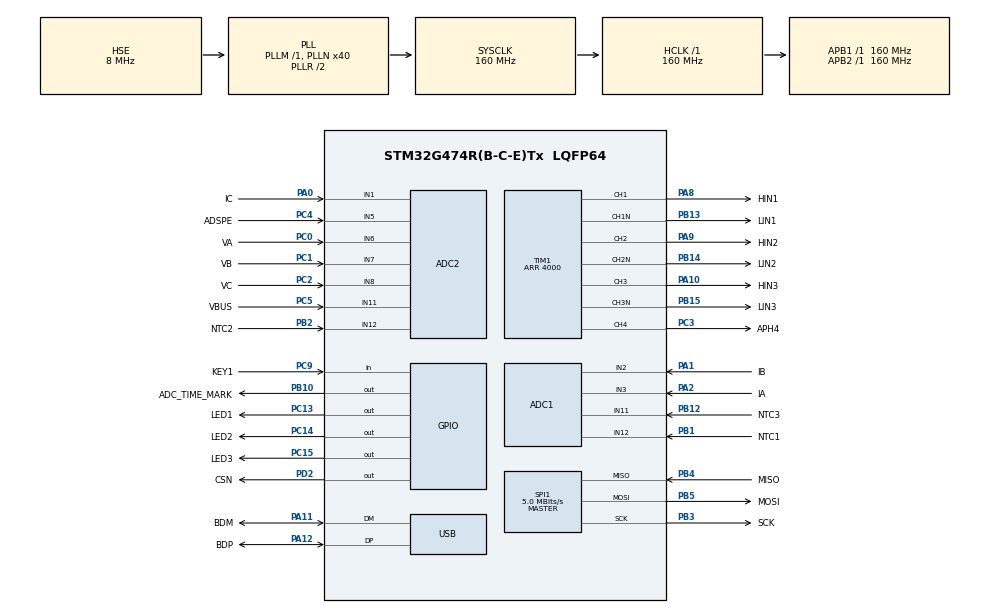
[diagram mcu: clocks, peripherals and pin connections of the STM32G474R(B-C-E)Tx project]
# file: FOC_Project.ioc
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ADC1.Channel-1\#ChannelRegularConversion=ADC_CHANNEL_11
ADC1.Channel-5\#ChannelRegularConversion=ADC_CHANNEL_12
ADC1.ContinuousConvMode=ENABLE
ADC1.DMAAccessMode=ADC_DMAACCESSMODE_DISABLED
ADC1.DMAContinuousRequests=ENABLE
ADC1.EOCSelection=ADC_EOC_SEQ_CONV
ADC1.EnableInjectedConversion=ENABLE
ADC1.ExternalTrigInjecConv=ADC_EXTERNALTRIGINJEC_T1_CC4
ADC1.ExternalTrigInjecConvEdge=ADC_EXTERNALTRIGINJECCONV_EDGE_FALLING
ADC1.InjNumberOfConversion=2
ADC1.InjectedChannel-2\#ChannelInjectedConversion=ADC_CHANNEL_3
ADC1.InjectedChannel-3\#ChannelInjectedConversion=ADC_CHANNEL_2
ADC1.InjectedOffsetNumber-2\#ChannelInjectedConversion=ADC_OFFSET_NONE
ADC1.InjectedOffsetNumber-3\#ChannelInjectedConversion=ADC_OFFSET_NONE
ADC1.InjectedRank-2\#ChannelInjectedConversion=1
ADC1.InjectedRank-3\#ChannelInjectedConversion=2
ADC1.InjectedSamplingTime-2\#ChannelInjectedConversion=ADC_SAMPLETIME_2CYCLES_5
ADC1.InjectedSamplingTime-3\#ChannelInjectedConversion=ADC_SAMPLETIME_2CYCLES_5
ADC1.Mode=ADC_DUALMODE_INJECSIMULT
ADC1.NbrOfConversion=2
ADC1.NbrOfConversionFlag=1
ADC1.OffsetNumber-1\#ChannelRegularConversion=ADC_OFFSET_NONE
ADC1.OffsetNumber-5\#ChannelRegularConversion=ADC_OFFSET_NONE
ADC1.Rank-1\#ChannelRegularConversion=1
ADC1.Rank-5\#ChannelRegularConversion=2
ADC1.Rank1_Channel=ADC_CHANNEL_3
ADC1.Rank2_Channel=ADC_CHANNEL_2
ADC1.SamplingTime-1\#ChannelRegularConversion=ADC_SAMPLETIME_47CYCLES_5
ADC1.SamplingTime-5\#ChannelRegularConversion=ADC_SAMPLETIME_47CYCLES_5
ADC1.TwoSamplingDelay=ADC_TWOSAMPLINGDELAY_1CYCLE
ADC1.master=1
ADC2.Channel-0\#ChannelRegularConversion=ADC_CHANNEL_5
ADC2.Channel-2\#ChannelRegularConversion=ADC_CHANNEL_6
ADC2.Channel-3\#ChannelRegularConversion=ADC_CHANNEL_7
ADC2.Channel-4\#ChannelRegularConversion=ADC_CHANNEL_8
ADC2.Channel-5\#ChannelRegularConversion=ADC_CHANNEL_12
ADC2.ContinuousConvMode=ENABLE
ADC2.DMAAccessMode=ADC_DMAACCESSMODE_DISABLED
ADC2.DMAContinuousRequests=ENABLE
ADC2.EOCSelection=ADC_EOC_SEQ_CONV
ADC2.EnableInjectedConversion=ENABLE
ADC2.InjNumberOfConversion=2
ADC2.InjectedChannel-1\#ChannelInjectedConversion=ADC_CHANNEL_1
ADC2.InjectedChannel-6\#ChannelInjectedConversion=ADC_CHANNEL_11
ADC2.InjectedOffsetNumber-1\#ChannelInjectedConversion=ADC_OFFSET_NONE
ADC2.InjectedOffsetNumber-6\#ChannelInjectedConversion=ADC_OFFSET_NONE
ADC2.InjectedRank-1\#ChannelInjectedConversion=1
ADC2.InjectedRank-6\#ChannelInjectedConversion=2
ADC2.InjectedSamplingTime-1\#ChannelInjectedConversion=ADC_SAMPLETIME_2CYCLES_5
ADC2.InjectedSamplingTime-6\#ChannelInjectedConversion=ADC_SAMPLETIME_2CYCLES_5
ADC2.Mode=ADC_DUALMODE_INJECSIMULT
ADC2.NbrOfConversion=5
ADC2.NbrOfConversionFlag=1
ADC2.OffsetNumber-0\#ChannelRegularConversion=ADC_OFFSET_NONE
ADC2.OffsetNumber-2\#ChannelRegularConversion=ADC_OFFSET_NONE
ADC2.OffsetNumber-3\#ChannelRegularConversion=ADC_OFFSET_NONE
ADC2.OffsetNumber-4\#ChannelRegularConversion=ADC_OFFSET_NONE
ADC2.OffsetNumber-5\#ChannelRegularConversion=ADC_OFFSET_NONE
ADC2.Rank-0\#ChannelRegularConversion=1
ADC2.Rank-2\#ChannelRegularConversion=2
ADC2.Rank-3\#ChannelRegularConversion=3
ADC2.Rank-4\#ChannelRegularConversion=4
ADC2.Rank-5\#ChannelRegularConversion=5
ADC2.Rank1_Channel=ADC_CHANNEL_1
ADC2.Rank2_Channel=ADC_CHANNEL_11
ADC2.SamplingTime-0\#ChannelRegularConversion=ADC_SAMPLETIME_47CYCLES_5
ADC2.SamplingTime-2\#ChannelRegularConversion=ADC_SAMPLETIME_47CYCLES_5
ADC2.SamplingTime-3\#ChannelRegularConversion=ADC_SAMPLETIME_47CYCLES_5
ADC2.SamplingTime-4\#ChannelRegularConversion=ADC_SAMPLETIME_47CYCLES_5
ADC2.SamplingTime-5\#ChannelRegularConversion=ADC_SAMPLETIME_47CYCLES_5
ADC2.TwoSamplingDelay=ADC_TWOSAMPLINGDELAY_1CYCLE
Dma.ADC1.0.Direction=DMA_PERIPH_TO_MEMORY
Dma.ADC1.0.EventEnable=DISABLE
Dma.ADC1.0.Instance=DMA1_Channel1
Dma.ADC1.0.MemDataAlignment=DMA_MDATAALIGN_HALFWORD
Dma.ADC1.0.MemInc=DMA_MINC_ENABLE
Dma.ADC1.0.Mode=DMA_CIRCULAR
Dma.ADC1.0.PeriphDataAlignment=DMA_PDATAALIGN_HALFWORD
Dma.ADC1.0.PeriphInc=DMA_PINC_DISABLE
Dma.ADC1.0.Polarity=HAL_DMAMUX_REQ_GEN_RISING
Dma.ADC1.0.Priority=DMA_PRIORITY_LOW
Dma.ADC1.0.RequestNumber=1
Dma.ADC1.0.SignalID=NONE
Dma.ADC1.0.SyncEnable=DISABLE
Dma.ADC1.0.SyncPolarity=HAL_DMAMUX_SYNC_NO_EVENT
Dma.ADC1.0.SyncRequestNumber=1
Dma.ADC1.0.SyncSignalID=NONE
Dma.ADC2.1.Direction=DMA_PERIPH_TO_MEMORY
Dma.ADC2.1.EventEnable=DISABLE
Dma.ADC2.1.Instance=DMA1_Channel2
Dma.ADC2.1.MemDataAlignment=DMA_MDATAALIGN_HALFWORD
Dma.ADC2.1.MemInc=DMA_MINC_ENABLE
Dma.ADC2.1.Mode=DMA_CIRCULAR
Dma.ADC2.1.PeriphDataAlignment=DMA_PDATAALIGN_HALFWORD
Dma.ADC2.1.PeriphInc=DMA_PINC_DISABLE
Dma.ADC2.1.Polarity=HAL_DMAMUX_REQ_GEN_RISING
Dma.ADC2.1.Priority=DMA_PRIORITY_LOW
Dma.ADC2.1.RequestNumber=1
Dma.ADC2.1.SignalID=NONE
Dma.ADC2.1.SyncEnable=DISABLE
Dma.ADC2.1.SyncPolarity=HAL_DMAMUX_SYNC_NO_EVENT
Dma.ADC2.1.SyncRequestNumber=1
Dma.ADC2.1.SyncSignalID=NONE
Dma.Request0=ADC1
Dma.Request1=ADC2
Dma.Request2=SPI1_RX
Dma.Request3=SPI1_TX
Dma.SPI1_RX.2.Direction=DMA_PERIPH_TO_MEMORY
Dma.SPI1_RX.2.EventEnable=DISABLE
Dma.SPI1_RX.2.Instance=DMA1_Channel3
Dma.SPI1_RX.2.MemDataAlignment=DMA_MDATAALIGN_HALFWORD
Dma.SPI1_RX.2.MemInc=DMA_MINC_DISABLE
Dma.SPI1_RX.2.Mode=DMA_NORMAL
Dma.SPI1_RX.2.PeriphDataAlignment=DMA_PDATAALIGN_HALFWORD
Dma.SPI1_RX.2.PeriphInc=DMA_PINC_DISABLE
Dma.SPI1_RX.2.Polarity=HAL_DMAMUX_REQ_GEN_RISING
Dma.SPI1_RX.2.Priority=DMA_PRIORITY_HIGH
Dma.SPI1_RX.2.RequestNumber=1
Dma.SPI1_RX.2.SignalID=NONE
Dma.SPI1_RX.2.SyncEnable=DISABLE
Dma.SPI1_RX.2.SyncPolarity=HAL_DMAMUX_SYNC_NO_EVENT
Dma.SPI1_RX.2.SyncRequestNumber=1
Dma.SPI1_RX.2.SyncSignalID=NONE
Dma.SPI1_TX.3.Direction=DMA_MEMORY_TO_PERIPH
Dma.SPI1_TX.3.EventEnable=DISABLE
Dma.SPI1_TX.3.Instance=DMA1_Channel4
Dma.SPI1_TX.3.MemDataAlignment=DMA_MDATAALIGN_HALFWORD
Dma.SPI1_TX.3.MemInc=DMA_MINC_DISABLE
Dma.SPI1_TX.3.Mode=DMA_NORMAL
Dma.SPI1_TX.3.PeriphDataAlignment=DMA_PDATAALIGN_HALFWORD
Dma.SPI1_TX.3.PeriphInc=DMA_PINC_DISABLE
Dma.SPI1_TX.3.Polarity=HAL_DMAMUX_REQ_GEN_RISING
Dma.SPI1_TX.3.Priority=DMA_PRIORITY_HIGH
Dma.SPI1_TX.3.RequestNumber=1
Dma.SPI1_TX.3.SignalID=NONE
Dma.SPI1_TX.3.SyncEnable=DISABLE
Dma.SPI1_TX.3.SyncPolarity=HAL_DMAMUX_SYNC_NO_EVENT
Dma.SPI1_TX.3.SyncRequestNumber=1
Dma.SPI1_TX.3.SyncSignalID=NONE
Mcu.Family=STM32G4
Mcu.Name=STM32G474R(B-C-E)Tx
Mcu.Package=LQFP64
NVIC.ADC1_2_IRQn=true\:0\:0\:false\:false\:true\:true\:true\:true
NVIC.DMA1_Channel1_IRQn=true\:0\:0\:false\:false\:true\:false\:true\:true
NVIC.DMA1_Channel2_IRQn=true\:0\:0\:false\:false\:true\:false\:true\:true
NVIC.DMA1_Channel3_IRQn=true\:1\:0\:false\:false\:true\:false\:true\:true
NVIC.DMA1_Channel4_IRQn=true\:1\:0\:false\:false\:true\:false\:true\:true
NVIC.PriorityGroup=NVIC_PRIORITYGROUP_4
NVIC.SPI1_IRQn=true\:1\:0\:false\:false\:true\:true\:true\:true
NVIC.TIM1_CC_IRQn=true\:1\:0\:true\:false\:true\:true\:true\:true
NVIC.TIM3_IRQn=true\:3\:0\:true\:false\:true\:true\:true\:true
NVIC.TIM7_DAC_IRQn=true\:2\:0\:true\:false\:true\:true\:true\:true
NVIC.USB_LP_IRQn=true\:4\:0\:true\:false\:true\:false\:true\:true
PA0.GPIO_Label=IC
PA0.Mode=IN1-Single-Ended
PA0.Signal=ADC2_IN1
PA1.GPIO_Label=IB
PA1.Mode=IN2-Single-Ended
PA1.Signal=ADC1_IN2
PA10.GPIO_Label=HIN3
PA10.Signal=S_TIM1_CH3
PA11.GPIO_Label=BDM
PA11.Mode=Device
PA11.Signal=USB_DM
PA12.GPIO_Label=BDP
PA12.Mode=Device
PA12.Signal=USB_DP
PA13.GPIO_Label=DIO
PA13.Mode=Serial_Wire
PA13.Signal=SYS_JTMS-SWDIO
PA14.GPIO_Label=CLK
PA14.Mode=Serial_Wire
PA14.Signal=SYS_JTCK-SWCLK
PA2.GPIO_Label=IA
PA2.Mode=IN3-Single-Ended
PA2.Signal=ADC1_IN3
PA5.GPIO_Label=RGB
PA5.Signal=S_TIM2_CH1
PA8.GPIO_Label=HIN1
PA8.Signal=S_TIM1_CH1
PA9.GPIO_Label=HIN2
PA9.Signal=S_TIM1_CH2
PB1.GPIO_Label=NTC1
PB1.Mode=IN12-Single-Ended
PB1.Signal=ADC1_IN12
PB10.GPIO_Label=ADC_TIME_MARK
PB10.GPIO_ModeDefaultOutputPP=GPIO_MODE_OUTPUT_PP
PB10.GPIO_PuPd=GPIO_NOPULL
PB10.GPIO_Speed=GPIO_SPEED_FREQ_HIGH
PB10.PinState=GPIO_PIN_SET
PB10.Signal=GPIO_Output
PB12.GPIO_Label=NTC3
PB12.Mode=IN11-Single-Ended
PB12.Signal=ADC1_IN11
PB13.GPIO_Label=LIN1
PB13.Mode=PWM Generation1 CH1 CH1N
PB13.Signal=TIM1_CH1N
PB14.GPIO_Label=LIN2
PB14.Mode=PWM Generation2 CH2 CH2N
PB14.Signal=TIM1_CH2N
PB15.GPIO_Label=LIN3
PB15.Mode=PWM Generation3 CH3 CH3N
PB15.Signal=TIM1_CH3N
PB2.GPIO_Label=NTC2
PB2.Mode=IN12-Single-Ended
PB2.Signal=ADC2_IN12
PB3.GPIO_Label=SCK
PB3.GPIO_Speed=GPIO_SPEED_FREQ_VERY_HIGH
PB3.Mode=Full_Duplex_Master
PB3.Signal=SPI1_SCK
PB4.GPIO_Label=MISO
PB4.GPIO_Speed=GPIO_SPEED_FREQ_VERY_HIGH
PB4.Mode=Full_Duplex_Master
PB4.Signal=SPI1_MISO
PB5.GPIO_Label=MOSI
PB5.GPIO_Speed=GPIO_SPEED_FREQ_VERY_HIGH
PB5.Mode=Full_Duplex_Master
PB5.Signal=SPI1_MOSI
PC0.GPIO_Label=VA
PC0.Mode=IN6-Single-Ended
PC0.Signal=ADC2_IN6
PC1.GPIO_Label=VB
PC1.Mode=IN7-Single-Ended
PC1.Signal=ADC2_IN7
PC13.GPIO_Label=LED1
PC13.GPIO_ModeDefaultOutputPP=GPIO_MODE_OUTPUT_PP
PC13.GPIO_PuPd=GPIO_NOPULL
PC13.GPIO_Speed=GPIO_SPEED_FREQ_LOW
PC13.PinState=GPIO_PIN_RESET
PC13.Signal=GPIO_Output
PC14-OSC32_IN.GPIO_Label=LED2
PC14-OSC32_IN.Signal=GPIO_Output
PC15-OSC32_OUT.GPIO_Label=LED3
PC15-OSC32_OUT.GPIO_ModeDefaultOutputPP=GPIO_MODE_OUTPUT_PP
PC15-OSC32_OUT.GPIO_PuPd=GPIO_NOPULL
PC15-OSC32_OUT.GPIO_Speed=GPIO_SPEED_FREQ_LOW
PC15-OSC32_OUT.PinState=GPIO_PIN_RESET
PC15-OSC32_OUT.Signal=GPIO_Output
PC2.GPIO_Label=VC
PC2.Mode=IN8-Single-Ended
PC2.Signal=ADC2_IN8
PC3.GPIO_Label=APH4
PC3.GPIO_Speed=GPIO_SPEED_FREQ_HIGH
PC3.Signal=S_TIM1_CH4
PC4.GPIO_Label=ADSPE
PC4.Mode=IN5-Single-Ended
PC4.Signal=ADC2_IN5
PC5.GPIO_Label=VBUS
PC5.Mode=IN11-Single-Ended
PC5.Signal=ADC2_IN11
PC9.GPIO_Label=KEY1
PC9.GPIO_PuPd=GPIO_PULLUP
PC9.Signal=GPIO_Input
PD2.GPIO_Label=CSN
PD2.GPIO_ModeDefaultOutputPP=GPIO_MODE_OUTPUT_PP
PD2.GPIO_PuPd=GPIO_NOPULL
PD2.GPIO_Speed=GPIO_SPEED_FREQ_VERY_HIGH
PD2.PinState=GPIO_PIN_SET
PD2.Signal=GPIO_Output
PF0-OSC_IN.GPIO_Label=O_IN
PF0-OSC_IN.Mode=HSE-External-Oscillator
PF0-OSC_IN.Signal=RCC_OSC_IN
PF1-OSC_OUT.GPIO_Label=O_OUT
PF1-OSC_OUT.Mode=HSE-External-Oscillator
PF1-OSC_OUT.Signal=RCC_OSC_OUT
ProjectManager.HeapSize=0x200
ProjectManager.StackSize=0x400
ProjectManager.TargetToolchain=MDK-ARM V5.32
RCC.ADC12Freq_Value=160000000
RCC.ADC345Freq_Value=160000000
RCC.AHBFreq_Value=160000000
RCC.APB1Freq_Value=160000000
RCC.APB1TimFreq_Value=160000000
RCC.APB2Freq_Value=160000000
RCC.APB2TimFreq_Value=160000000
RCC.CK48CLockSelection=RCC_USBCLKSOURCE_HSI48
RCC.CortexFreq_Value=160000000
RCC.EXTERNAL_CLOCK_VALUE=12288000
RCC.HCLKFreq_Value=160000000
RCC.HSE_VALUE=8000000
RCC.HSI48_VALUE=48000000
RCC.HSI_VALUE=16000000
RCC.LSE_VALUE=32768
RCC.PLLN=40
RCC.PLLSourceVirtual=RCC_PLLSOURCE_HSE
RCC.SYSCLKFreq_VALUE=160000000
RCC.SYSCLKSource=RCC_SYSCLKSOURCE_PLLCLK
RCC.USBFreq_Value=48000000
RCC.VCOOutputFreq_Value=320000000
SH.S_TIM1_CH1.0=TIM1_CH1,PWM Generation1 CH1 CH1N
SH.S_TIM1_CH2.0=TIM1_CH2,PWM Generation2 CH2 CH2N
SH.S_TIM1_CH3.0=TIM1_CH3,PWM Generation3 CH3 CH3N
SH.S_TIM1_CH4.0=TIM1_CH4,PWM Generation4 CH4
SH.S_TIM2_CH1.0=TIM2_CH1
SPI1.BaudRatePrescaler=SPI_BAUDRATEPRESCALER_32
SPI1.CLKPhase=SPI_PHASE_2EDGE
SPI1.CLKPolarity=SPI_POLARITY_LOW
SPI1.CRCCalculation=SPI_CRCCALCULATION_DISABLE
SPI1.CalculateBaudRate=5.0 MBits/s
SPI1.DataSize=SPI_DATASIZE_16BIT
SPI1.Direction=SPI_DIRECTION_2LINES
SPI1.FirstBit=SPI_FIRSTBIT_MSB
SPI1.GPIO_SPEED=GPIO_SPEED_FREQ_VERY_HIGH
SPI1.Mode=SPI_MODE_MASTER
SPI1.NSS=SPI_NSS_SOFT
SPI1.TIMode=SPI_TIMODE_DISABLE
SPI1.VirtualType=VM_MASTER
TIM1.Channel-PWM\ Generation1\ CH1\ CH1N=TIM_CHANNEL_1
TIM1.Channel-PWM\ Generation2\ CH2\ CH2N=TIM_CHANNEL_2
TIM1.Channel-PWM\ Generation3\ CH3\ CH3N=TIM_CHANNEL_3
TIM1.Channel-PWM\ Generation4\ CH4=TIM_CHANNEL_4
TIM1.CounterMode=TIM_COUNTERMODE_CENTERALIGNED2
TIM1.OffStateIDLEMode=TIM_OSSI_ENABLE
TIM1.PeriodNoDither=4000
TIM1.PulseNoDither_4=3900
TIM3.PeriodNoDither=999
TIM3.Prescaler=159
TIM7.PeriodNoDither=499
TIM7.Prescaler=159
USB_DEVICE.CLASS_NAME_FS=CDC
USB_DEVICE.VirtualMode=Cdc
USB_DEVICE.VirtualModeFS=Cdc_FS
VP_SYS_VS_DBSignals.Mode=DisableDeadBatterySignals
VP_TIM1_VS_ClockSourceINT.Mode=Internal
VP_TIM3_VS_ClockSourceINT.Mode=Internal
VP_TIM7_VS_ClockSourceINT.Mode=Enable_Timer
VP_USB_DEVICE_VS_USB_DEVICE_CDC_FS.Mode=CDC_FS
board=custom

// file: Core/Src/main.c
/* USER CODE BEGIN Header */
/**
  ******************************************************************************
  * @file           : main.c
  * @brief          : Main program body
  ******************************************************************************
  * @attention
  *
  * Copyright (c) 2026 STMicroelectronics.
  * All rights reserved.
  *
  * This software is licensed under terms that can be found in the LICENSE file
  * in the root directory of this software component.
  * If no LICENSE file comes with this software, it is provided AS-IS.
  *
  ******************************************************************************
  */
/* USER CODE END Header */
#include "main.h"
#include "adc.h"
#include "dma.h"
#include "spi.h"
#include "tim.h"
#include "usb_device.h"
#include "gpio.h"

/* USER CODE BEGIN Includes */

#include "common.h"
#include "encoder_zero_calibration.h"
#include "key_control.h"
#include "sample_time.h"
#include "vofa.h"
#include "voltage_sample.h"
#include "eccentricity_identification.h"

/* USER CODE END Includes */

void SystemClock_Config(void);

int main(void)
{

  /* MCU Configuration--------------------------------------------------------*/

  /* Reset of all peripherals, Initializes the Flash interface and the Systick. */
  HAL_Init();

  /* Configure the system clock */
  SystemClock_Config();

  /* Initialize all configured peripherals */
  MX_GPIO_Init();
  MX_DMA_Init();
  MX_USB_Device_Init();
  MX_ADC1_Init();
  MX_ADC2_Init();
  MX_TIM1_Init();
  MX_SPI1_Init();
  MX_TIM7_Init();
  MX_TIM3_Init();
  /* USER CODE BEGIN 2 */
  DWT_Init();
  sample_time_init();

  HAL_GPIO_WritePin(LED1_GPIO_Port, LED1_Pin, GPIO_PIN_SET);
//led3-b led2-y led1-g
  HAL_Delay(1000U);

  /* Calibrate and arm ADC1 before TIM1 starts generating CC4 events. */
  if (HAL_ADCEx_Calibration_Start(&hadc1, ADC_SINGLE_ENDED) != HAL_OK)
  {
    Error_Handler();
  }

  /* Enable the ADC2 injected slave (IC/VBUS) and regular DMA before ADC1. */
  if (voltage_sample_start() != HAL_OK)
  {
    Error_Handler();
  }

  if (HAL_ADCEx_InjectedStart_IT(&hadc1) != HAL_OK)
  {
    Error_Handler();
  }

  /* TIM1 CH4 generates the ADC injected-conversion hardware trigger. */
  if (HAL_TIM_PWM_Start(&htim1, TIM_CHANNEL_4) != HAL_OK)
  {
    Error_Handler();
  }

  /* Keep TIM1 CH1-CH3 disabled while measuring the zero-current offsets. */
  pmsm_init();

  /* Motor/encoder initialization is complete before speed updates begin. */
  __HAL_TIM_SET_COUNTER(&htim7, 0U);
  __HAL_TIM_CLEAR_FLAG(&htim7, TIM_FLAG_UPDATE);
  HAL_TIM_Base_Start_IT(&htim7);

  /* TIM3 schedules position updates every 1 ms after motor initialization. */
  __HAL_TIM_SET_COUNTER(&htim3, 0U);
  __HAL_TIM_CLEAR_FLAG(&htim3, TIM_FLAG_UPDATE);
  HAL_TIM_Base_Start_IT(&htim3);

#if (FOC_PWM_OUTPUT_DEFAULT_ENABLED != 0U)
  if (foc_pwm_output_enable(&pm) != HAL_OK)
  {
    Error_Handler();
  }
#endif

  /* Measure TIM1_CH4-to-ADC1 callback latency from the timer counter. */
  foc_adc_time_measure_arm(&pm);

  /* Keep angle sampling active when booting with all motor outputs off. */
  if (foc_pwm_output_is_enabled() == 0U)
  {
    foc_pwm_output_disable();
  }

  /* Initialize the non-blocking VOFA+ USB CDC stream. */
  vofa_init();

  /* USER CODE END 2 */

  /* Infinite loop */
  while (1)
  {

    /* USER CODE BEGIN 3 */
    (void)voltage_sample_regular_update();
    voltage_sample_transform_update(pm.foc.electrical_angle_rad,
                                    calibration.phase_reversed);
    vofa_process();
    key_control_process();
    eccentricity_compensation_save_process();

#if ((FOC_ENCODER_ZERO_CALIBRATION_MODE != 0U) || \
     (FOC_PHASE_AUTO_CALIBRATION_MODE != 0U))
    if (calibration.failed != 0U)
    {
      HAL_GPIO_WritePin(LED3_GPIO_Port, LED3_Pin, GPIO_PIN_SET);
    }

    /* Calibration completes in the ADC ISR; persist the result here in the
       non-real-time foreground, with PWM already disabled. */
    if ((calibration.done != 0U) &&
        (calibration.flash_save_attempted == 0U))
    {
      calibration.flash_save_attempted = 1U;
      if (encoder_zero_flash_save(&calibration) == HAL_OK)
      {
        calibration.flash_saved = 1U;
      }
      else
      {
        HAL_GPIO_WritePin(LED3_GPIO_Port, LED3_Pin, GPIO_PIN_SET);
      }
    }
#endif
  }
  /* USER CODE END 3 */
}

void SystemClock_Config(void)
{
  RCC_OscInitTypeDef RCC_OscInitStruct = {0};
  RCC_ClkInitTypeDef RCC_ClkInitStruct = {0};

  /** Configure the main internal regulator output voltage
  */
  HAL_PWREx_ControlVoltageScaling(PWR_REGULATOR_VOLTAGE_SCALE1_BOOST);

  /** Initializes the RCC Oscillators according to the specified parameters
  * in the RCC_OscInitTypeDef structure.
  */
  RCC_OscInitStruct.OscillatorType = RCC_OSCILLATORTYPE_HSI48|RCC_OSCILLATORTYPE_HSE;
  RCC_OscInitStruct.HSEState = RCC_HSE_ON;
  RCC_OscInitStruct.HSI48State = RCC_HSI48_ON;
  RCC_OscInitStruct.PLL.PLLState = RCC_PLL_ON;
  RCC_OscInitStruct.PLL.PLLSource = RCC_PLLSOURCE_HSE;
  RCC_OscInitStruct.PLL.PLLM = RCC_PLLM_DIV1;
  RCC_OscInitStruct.PLL.PLLN = 40;
  RCC_OscInitStruct.PLL.PLLP = RCC_PLLP_DIV2;
  RCC_OscInitStruct.PLL.PLLQ = RCC_PLLQ_DIV2;
  RCC_OscInitStruct.PLL.PLLR = RCC_PLLR_DIV2;
  if (HAL_RCC_OscConfig(&RCC_OscInitStruct) != HAL_OK)
  {
    Error_Handler();
  }

  /** Initializes the CPU, AHB and APB buses clocks
  */
  RCC_ClkInitStruct.ClockType = RCC_CLOCKTYPE_HCLK|RCC_CLOCKTYPE_SYSCLK
                              |RCC_CLOCKTYPE_PCLK1|RCC_CLOCKTYPE_PCLK2;
  RCC_ClkInitStruct.SYSCLKSource = RCC_SYSCLKSOURCE_PLLCLK;
  RCC_ClkInitStruct.AHBCLKDivider = RCC_SYSCLK_DIV1;
  RCC_ClkInitStruct.APB1CLKDivider = RCC_HCLK_DIV1;
  RCC_ClkInitStruct.APB2CLKDivider = RCC_HCLK_DIV1;

  if (HAL_RCC_ClockConfig(&RCC_ClkInitStruct, FLASH_LATENCY_4) != HAL_OK)
  {
    Error_Handler();
  }
}

void Error_Handler(void)
{
  __disable_irq();
  while (1)
  {
  }
}
